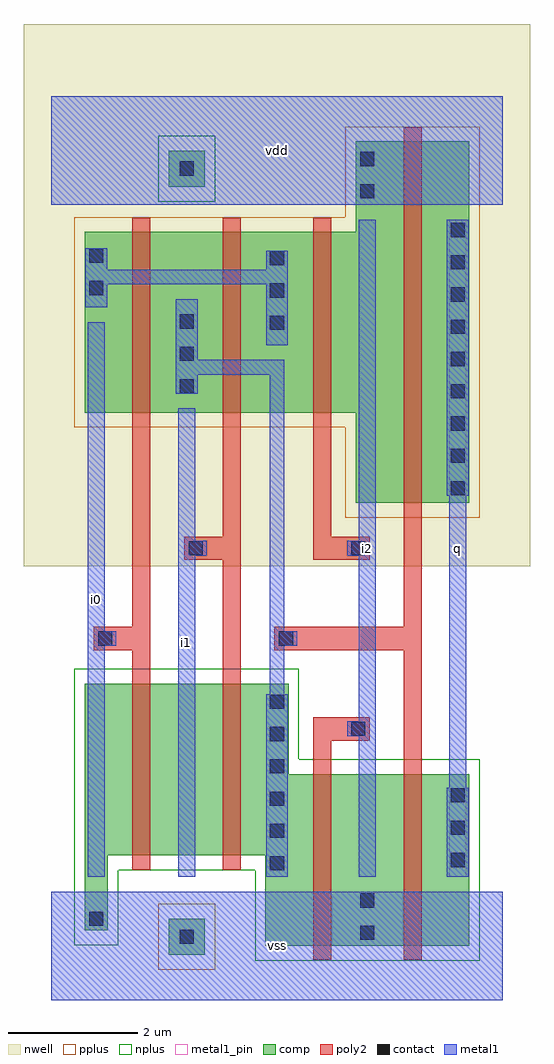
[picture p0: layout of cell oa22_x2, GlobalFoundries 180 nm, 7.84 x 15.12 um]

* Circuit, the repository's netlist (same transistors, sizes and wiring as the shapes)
* oa22_x2
.subckt oa22_x2 vdd q vss i0 i1 i2
Mp_net0_1 vdd _net0 q vdd pfet_03v3 l=0.28um w=5.6um
Mn_net0_1 vss _net0 q vss nfet_03v3 l=0.28um w=2.66um
Mn_i0_1 vss i0 _net2 vss nfet_03v3 l=0.28um w=2.66um
Mp_i0_1 _net1 i0 _net0 vdd pfet_03v3 l=0.28um w=2.8um
Mn_i1_1 _net2 i1 _net0 vss nfet_03v3 l=0.28um w=2.66um
Mp_i1_1 _net0 i1 _net1 vdd pfet_03v3 l=0.28um w=2.8um
Mp_i2_1 _net1 i2 vdd vdd pfet_03v3 l=0.28um w=2.8um
Mn_i2_1 _net0 i2 vss vss nfet_03v3 l=0.28um w=2.66um
.ends oa22_x2

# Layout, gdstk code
import gdstk
lib = gdstk.Library(unit=1e-6, precision=1e-09)
def R(c, l, rs):  # rectangles x0, y0, x1, y1
    for r in rs: c.add(gdstk.rectangle(r[:2], r[2:], *l))
def A(c, l, x, y, w, h, nx, ny, dx, dy):  # array of equal rectangles
    R(c, l, [(x+i*dx, y+j*dy, x+i*dx+w, y+j*dy+h) for i in range(nx) for j in range(ny)])
def P(c, l, *ps):  # polygons
    for p in ps: c.add(gdstk.Polygon(p, *l))
nwell = (21, 0)
comp = (22, 0)
poly2 = (30, 0)
pplus = (31, 0)
nplus = (32, 0)
contact = (33, 0)
metal1 = (34, 0)
metal1_pin = (34, 10)

oa22_x2 = lib.new_cell('oa22_x2')
R(oa22_x2, nwell, [(-0.42,6.72,7.42,15.12)])
R(oa22_x2, comp, [(1.82,0.7,2.38,1.26), (1.82,12.6,2.38,13.16)])
P(oa22_x2, comp, [(4.72,7.7),(4.72,9.1),(0.52,9.1),(0.52,11.9),(4.72,11.9),(4.72,13.3),(6.48,13.3),(6.48,7.7)],
  [(3.32,0.84),(3.32,2.24),(0.88,2.24),(0.88,1.08),(0.52,1.08),(0.52,4.9),(3.68,4.9),(3.68,3.5),(6.48,3.5),(6.48,0.84)])
P(oa22_x2, poly2, [(5.46,0.62),(5.46,5.42),(3.46,5.42),(3.46,5.78),(5.46,5.78),(5.46,13.52),(5.74,13.52),(5.74,0.62)],
  [(1.26,2.02),(1.26,5.42),(0.66,5.42),(0.66,5.78),(1.26,5.78),(1.26,12.12),(1.54,12.12),(1.54,2.02)],
  [(2.66,2.02),(2.66,6.82),(2.06,6.82),(2.06,7.18),(2.66,7.18),(2.66,12.12),(2.94,12.12),(2.94,2.02)],
  [(4.06,6.82),(4.06,12.12),(4.34,12.12),(4.34,7.18),(4.94,7.18),(4.94,6.82)],
  [(4.06,0.62),(4.06,4.38),(4.94,4.38),(4.94,4.02),(4.34,4.02),(4.34,0.62)])
R(oa22_x2, pplus, [(1.66,0.47,2.54,1.49)])
P(oa22_x2, pplus, [(4.56,7.47),(4.56,8.87),(0.36,8.87),(0.36,12.13),(4.56,12.13),(4.56,13.53),(6.64,13.53),(6.64,7.47)])
R(oa22_x2, nplus, [(1.66,12.37,2.54,13.39)])
P(oa22_x2, nplus, [(3.16,0.61),(3.16,2.01),(1.04,2.01),(1.04,0.85),(0.36,0.85),(0.36,5.13),(3.84,5.13),(3.84,3.73),(6.64,3.73),(6.64,0.61)])
A(oa22_x2, contact, 3.39, 2.01, 0.22, 0.22, 1, 6, 0, 0.5)
A(oa22_x2, contact, 6.19, 2.06, 0.22, 0.22, 1, 3, 0, 0.5)
A(oa22_x2, contact, 6.19, 7.82, 0.22, 0.22, 1, 9, 0, 0.5)
A(oa22_x2, contact, 1.99, 9.4, 0.22, 0.22, 1, 3, 0, 0.5)
A(oa22_x2, contact, 3.39, 10.38, 0.22, 0.22, 1, 3, 0, 0.5)
R(oa22_x2, contact, [(1.99,0.87,2.21,1.09), (4.79,0.93,5.01,1.15), (0.59,1.15,0.81,1.37), (4.79,1.43,5.01,1.65), (4.65,4.09,4.87,4.31), (0.73,5.49,0.95,5.71), (3.53,5.49,3.75,5.71), (2.13,6.89,2.35,7.11), (4.65,6.89,4.87,7.11), (0.59,10.92,0.81,11.14), (0.59,11.42,0.81,11.64), (4.79,12.42,5.01,12.64), (1.99,12.77,2.21,12.99), (4.79,12.92,5.01,13.14)])
R(oa22_x2, metal1, [(0,0,7,1.68), (0,12.32,7,14)])
P(oa22_x2, metal1, [(6.13,1.91),(6.13,3.285),(6.17,3.285),(6.17,7.815),(6.13,7.815),(6.13,12.09),(6.47,12.09),(6.47,7.815),(6.43,7.815),(6.43,3.285),(6.47,3.285),(6.47,1.91)],
  [(3.33,1.91),(3.33,4.735),(3.385,4.735),(3.385,9.685),(2.27,9.685),(2.27,9.395),(1.93,9.395),(1.93,10.855),(2.27,10.855),(2.27,9.915),(3.615,9.915),(3.615,5.715),(3.81,5.715),(3.81,5.485),(3.615,5.485),(3.615,4.735),(3.67,4.735),(3.67,1.91)],
  [(0.57,1.91),(0.57,10.5),(0.83,10.5),(0.83,5.715),(1.01,5.715),(1.01,5.485),(0.83,5.485),(0.83,1.91)],
  [(3.33,10.145),(3.33,11.085),(0.87,11.085),(0.87,10.73),(0.53,10.73),(0.53,11.645),(0.87,11.645),(0.87,11.315),(3.33,11.315),(3.33,11.605),(3.67,11.605),(3.67,10.145)],
  [(1.97,1.91),(1.97,9.165),(2.23,9.165),(2.23,7.115),(2.41,7.115),(2.41,6.885),(2.23,6.885),(2.23,1.91)],
  [(4.77,1.91),(4.77,4.085),(4.59,4.085),(4.59,4.315),(4.77,4.315),(4.77,6.885),(4.59,6.885),(4.59,7.115),(4.77,7.115),(4.77,12.09),(5.03,12.09),(5.03,1.91)])
R(oa22_x2, metal1_pin, [(0,0,7,1.68), (0.57,1.91,0.83,10.5), (1.97,1.91,2.23,9.165), (4.77,1.91,5.03,12.09), (6.17,1.91,6.43,12.09), (0,12.32,7,14)])
oa22_x2.add(gdstk.Label('vdd', (3.5,13.16), layer=34, texttype=10))
oa22_x2.add(gdstk.Label('q', (6.3,7), layer=34, texttype=10))
oa22_x2.add(gdstk.Label('vss', (3.5,0.84), layer=34, texttype=10))
oa22_x2.add(gdstk.Label('i0', (0.7,6.205), layer=34, texttype=10))
oa22_x2.add(gdstk.Label('i1', (2.1,5.538), layer=34, texttype=10))
oa22_x2.add(gdstk.Label('i2', (4.9,7), layer=34, texttype=10))

lib.write_gds('oa22_x2.gds')
